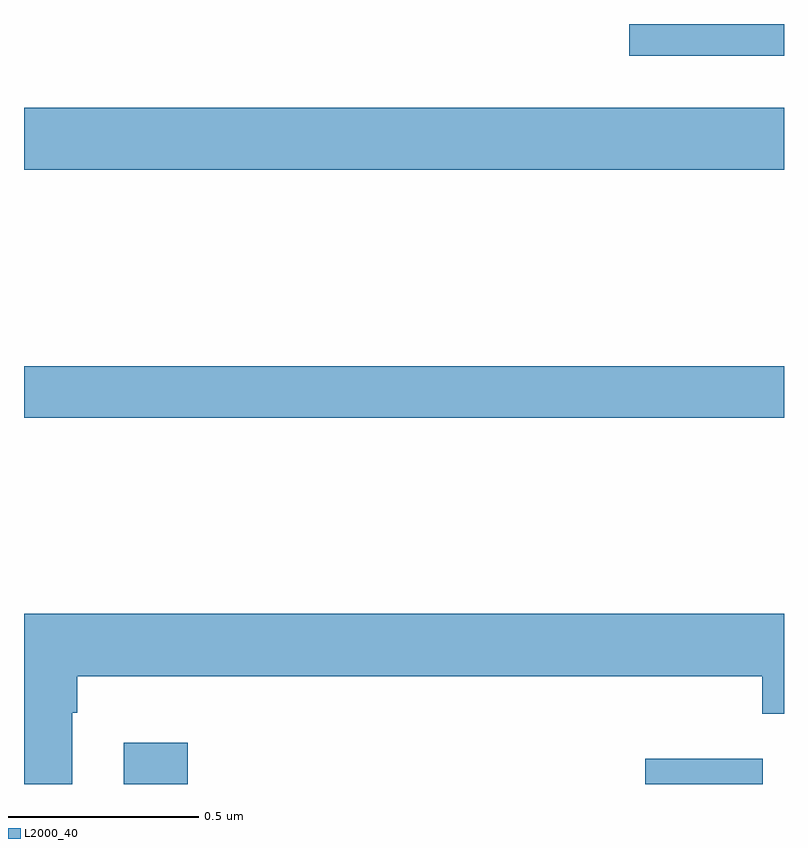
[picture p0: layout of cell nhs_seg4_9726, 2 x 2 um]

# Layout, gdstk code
import gdstk
lib = gdstk.Library(unit=1e-6, precision=1e-09)
def R(c, l, rs):  # rectangles x0, y0, x1, y1
    for r in rs: c.add(gdstk.rectangle(r[:2], r[2:], *l))
def P(c, l, *ps):  # polygons
    for p in ps: c.add(gdstk.Polygon(p, *l))
L2000_40 = (2000, 40)

nhs_seg4_9726 = lib.new_cell('nhs_seg4_9726')
R(nhs_seg4_9726, L2000_40, [(231.263,765.9,231.431,766.009), (232.635,765.9,232.944,765.966), (231,766.864,233,767), (231,767.516,233,767.68), (232.593,767.816,233,767.9)])
P(nhs_seg4_9726, L2000_40, [(231.127,766.088),(231.14,766.088),(231.14,766.184),(232.943,766.184),(232.943,766.085),(233,766.085),(233,766.348),(231,766.348),(231,765.9),(231.127,765.9)])

lib.write_gds('nhs_seg4_9726.gds')
